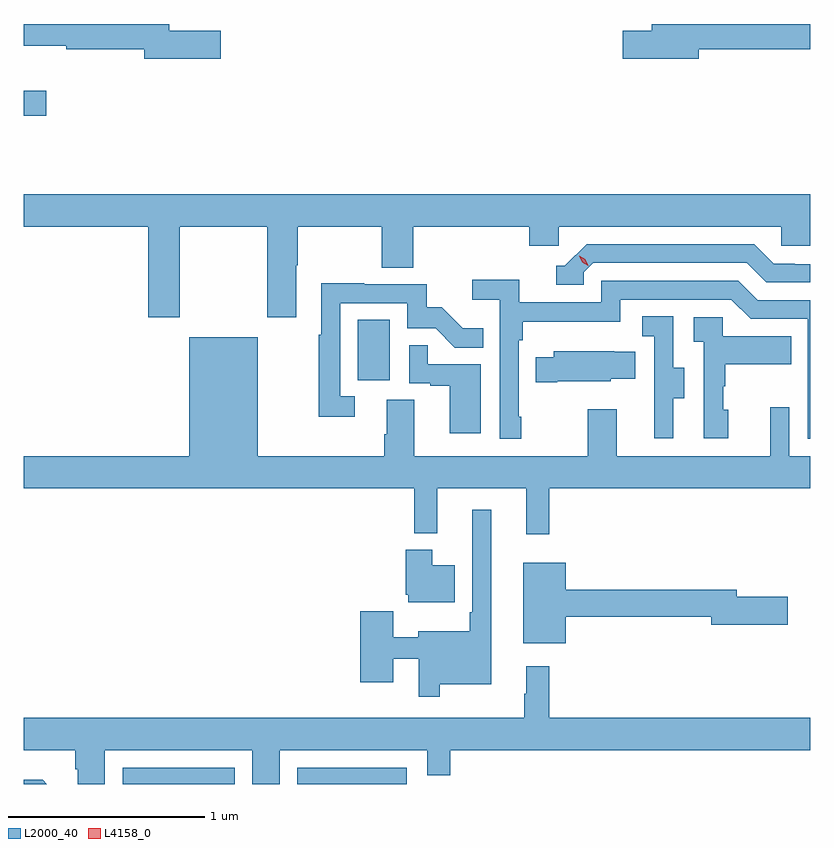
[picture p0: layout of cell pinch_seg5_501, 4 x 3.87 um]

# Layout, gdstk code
import gdstk
lib = gdstk.Library(unit=1e-6, precision=1e-09)
def R(c, l, rs):  # rectangles x0, y0, x1, y1
    for r in rs: c.add(gdstk.rectangle(r[:2], r[2:], *l))
def P(c, l, *ps):  # polygons
    for p in ps: c.add(gdstk.Polygon(p, *l))
L2000_40 = (2000, 40)
L4158_0 = (4158, 0)

pinch_seg5_501 = lib.new_cell('pinch_seg5_501')
R(pinch_seg5_501, L2000_40, [(900.054,839.272,900.624,839.355), (900.942,839.272,901.5,839.355), (901.25,841.326,901.414,841.633), (899.552,842.671,899.665,842.8)])
P(pinch_seg5_501, L2000_40, [(900.553,843.105),(900.292,843.105),(900.292,843.139),(899.552,843.139),(899.552,843.028),(899.768,843.028),(899.768,843.01),(900.164,843.01),(900.164,842.963),(900.553,842.963)],
  [(902.986,843.01),(903.552,843.01),(903.552,843.139),(902.747,843.139),(902.747,843.105),(902.598,843.105),(902.598,842.963),(902.986,842.963)],
  [(900.345,842.108),(900.79,842.108),(900.79,841.647),(900.937,841.647),(900.937,841.912),(900.945,841.912),(900.945,842.108),(901.372,842.108),(901.372,841.9),(901.532,841.9),(901.532,842.108),(902.123,842.108),(902.123,842.01),(902.274,842.01),(902.274,842.108),(903.405,842.108),(903.405,842.01),(903.552,842.01),(903.552,842.272),(899.552,842.272),(899.552,842.108),(900.185,842.108),(900.185,841.647),(900.345,841.647)],
  [(902.4,841.875),(902.448,841.923),(903.231,841.923),(903.33,841.824),(903.552,841.824),(903.552,841.917),(903.474,841.917),(903.474,841.92),(903.367,841.92),(903.268,842.019),(902.415,842.019),(902.304,841.908),(902.261,841.908),(902.261,841.812),(902.4,841.812)],
  [(902.083,841.141),(902.07,841.141),(902.07,841.529),(902.09,841.529),(902.09,841.625),(902.586,841.625),(902.586,841.737),(903.15,841.737),(903.249,841.638),(903.54,841.638),(903.54,841.029),(903.552,841.029),(903.552,841.734),(903.286,841.734),(903.187,841.833),(902.49,841.833),(902.49,841.722),(902.072,841.722),(902.072,841.838),(901.833,841.838),(901.833,841.736),(901.974,841.736),(901.974,841.029),(902.083,841.029)],
  [(901.234,841.245),(901.161,841.245),(901.161,841.719),(901.503,841.719),(901.503,841.59),(901.647,841.59),(901.745,841.492),(901.889,841.492),(901.889,841.591),(901.785,841.591),(901.678,841.698),(901.602,841.698),(901.602,841.815),(901.283,841.815),(901.283,841.82),(901.065,841.82),(901.065,841.559),(901.053,841.559),(901.053,841.14),(901.234,841.14)],
  [(902.857,841.234),(902.911,841.234),(902.911,841.389),(902.856,841.389),(902.856,841.652),(902.697,841.652),(902.697,841.549),(902.76,841.549),(902.76,841.245),(902.759,841.245),(902.759,841.032),(902.857,841.032)],
  [(903.136,841.176),(903.111,841.176),(903.111,841.295),(903.121,841.295),(903.121,841.409),(903.455,841.409),(903.455,841.549),(903.108,841.549),(903.108,841.647),(902.961,841.647),(902.961,841.523),(903.012,841.523),(903.012,841.032),(903.136,841.032)],
  [(902.225,840.776),(903.552,840.776),(903.552,840.94),(903.447,840.94),(903.447,841.189),(903.35,841.189),(903.35,840.94),(902.569,840.94),(902.569,841.18),(902.422,841.18),(902.422,840.94),(901.537,840.94),(901.537,841.226),(901.397,841.226),(901.397,841.052),(901.385,841.052),(901.385,840.94),(900.742,840.94),(900.742,841.546),(900.392,841.546),(900.392,840.94),(899.552,840.94),(899.552,840.776),(901.537,840.776),(901.537,840.548),(901.655,840.548),(901.655,840.776),(902.108,840.776),(902.108,840.543),(902.225,840.543)],
  [(901.876,841.407),(901.607,841.407),(901.607,841.505),(901.512,841.505),(901.512,841.311),(901.619,841.311),(901.619,841.299),(901.718,841.299),(901.718,841.056),(901.876,841.056)],
  [(902.266,841.322),(902.538,841.322),(902.538,841.334),(902.663,841.334),(902.663,841.471),(902.555,841.471),(902.555,841.474),(902.249,841.474),(902.249,841.444),(902.155,841.444),(902.155,841.315),(902.266,841.315)],
  [(901.669,839.78),(901.93,839.78),(901.93,840.667),(901.833,840.667),(901.833,840.145),(901.821,840.145),(901.821,840.049),(901.559,840.049),(901.559,840.019),(901.432,840.019),(901.432,840.151),(901.262,840.151),(901.262,839.79),(901.432,839.79),(901.432,839.91),(901.56,839.91),(901.56,839.715),(901.669,839.715)],
  [(901.744,840.385),(901.63,840.385),(901.63,840.463),(901.496,840.463),(901.496,840.234),(901.508,840.234),(901.508,840.197),(901.744,840.197)],
  [(902.308,840.124),(903.05,840.124),(903.05,840.082),(903.439,840.082),(903.439,840.224),(903.178,840.224),(903.178,840.26),(902.308,840.26),(902.308,840.397),(902.093,840.397),(902.093,839.987),(902.308,839.987)],
  [(899.964,839.444),(900.714,839.444),(900.714,839.272),(900.853,839.272),(900.853,839.444),(901.605,839.444),(901.605,839.317),(901.721,839.317),(901.721,839.444),(903.552,839.444),(903.552,839.608),(902.225,839.608),(902.225,839.872),(902.108,839.872),(902.108,839.732),(902.097,839.732),(902.097,839.608),(899.552,839.608),(899.552,839.444),(899.813,839.444),(899.813,839.346),(899.827,839.346),(899.827,839.272),(899.964,839.272)],
  [(899.648,839.293),(899.552,839.293),(899.552,839.272),(899.669,839.272)])
P(pinch_seg5_501, L4158_0, [(902.423,841.909),(902.393,841.928),(902.377,841.961),(902.377,841.961),(902.377,841.961),(902.408,841.941),(902.424,841.909),(902.424,841.909)])

lib.write_gds('pinch_seg5_501.gds')
